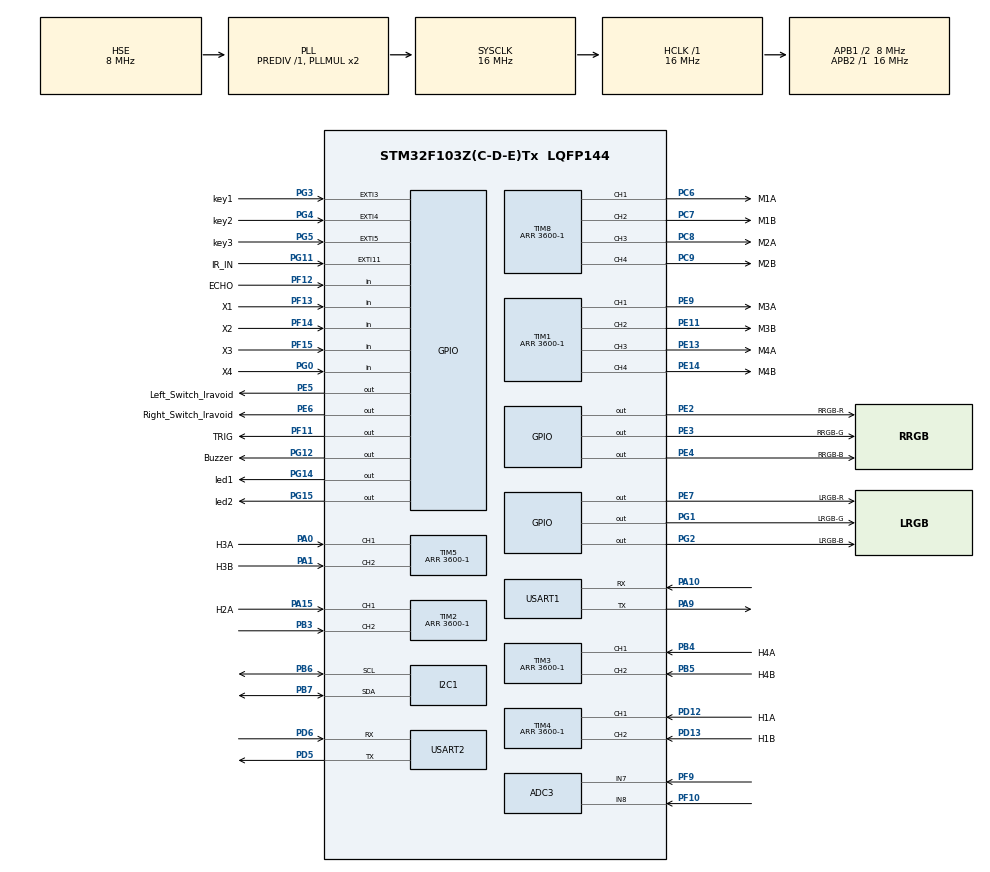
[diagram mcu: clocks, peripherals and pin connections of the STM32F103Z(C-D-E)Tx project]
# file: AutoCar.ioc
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ADC3.Channel-0\#ChannelRegularConversion=ADC_CHANNEL_7
ADC3.NbrOfConversionFlag=1
ADC3.Rank-0\#ChannelRegularConversion=1
ADC3.SamplingTime-0\#ChannelRegularConversion=ADC_SAMPLETIME_1CYCLE_5
Mcu.Family=STM32F1
Mcu.Name=STM32F103Z(C-D-E)Tx
Mcu.Package=LQFP144
NVIC.EXTI15_10_IRQn=true\:0\:0\:false\:false\:true\:true\:true\:true
NVIC.EXTI3_IRQn=true\:0\:0\:false\:false\:true\:true\:true\:true
NVIC.EXTI4_IRQn=true\:0\:0\:false\:false\:true\:true\:true\:true
NVIC.EXTI9_5_IRQn=true\:0\:0\:false\:false\:true\:true\:true\:true
NVIC.PriorityGroup=NVIC_PRIORITYGROUP_4
NVIC.USART2_IRQn=true\:0\:0\:false\:false\:true\:true\:true\:true
OSC_IN.Mode=HSE-External-Oscillator
OSC_IN.Signal=RCC_OSC_IN
OSC_OUT.Mode=HSE-External-Oscillator
OSC_OUT.Signal=RCC_OSC_OUT
PA0-WKUP.GPIO_Label=H3A
PA0-WKUP.Signal=S_TIM5_CH1
PA1.GPIO_Label=H3B
PA1.Signal=S_TIM5_CH2
PA10.Mode=Asynchronous
PA10.Signal=USART1_RX
PA13.Mode=Serial_Wire
PA13.Signal=SYS_JTMS-SWDIO
PA14.Mode=Serial_Wire
PA14.Signal=SYS_JTCK-SWCLK
PA15.GPIO_Label=H2A
PA15.Signal=S_TIM2_CH1_ETR
PA9.Mode=Asynchronous
PA9.Signal=USART1_TX
PB3.Signal=S_TIM2_CH2
PB4.GPIO_Label=H4A
PB4.Signal=S_TIM3_CH1
PB5.GPIO_Label=H4B
PB5.Signal=S_TIM3_CH2
PB6.Mode=I2C
PB6.Signal=I2C1_SCL
PB7.Mode=I2C
PB7.Signal=I2C1_SDA
PC6.GPIO_Label=M1A
PC6.Signal=S_TIM8_CH1
PC7.GPIO_Label=M1B
PC7.Signal=S_TIM8_CH2
PC8.GPIO_Label=M2A
PC8.Signal=S_TIM8_CH3
PC9.GPIO_Label=M2B
PC9.Signal=S_TIM8_CH4
PD12.GPIO_Label=H1A
PD12.Signal=S_TIM4_CH1
PD13.GPIO_Label=H1B
PD13.Signal=S_TIM4_CH2
PD5.Mode=Asynchronous
PD5.Signal=USART2_TX
PD6.Mode=Asynchronous
PD6.Signal=USART2_RX
PE11.GPIO_Label=M3B
PE11.Signal=S_TIM1_CH2
PE13.GPIO_Label=M4A
PE13.Signal=S_TIM1_CH3
PE14.GPIO_Label=M4B
PE14.Signal=S_TIM1_CH4
PE2.GPIO_Label=RRGB-R
PE2.Signal=GPIO_Output
PE3.GPIO_Label=RRGB-G
PE3.Signal=GPIO_Output
PE4.GPIO_Label=RRGB-B
PE4.Signal=GPIO_Output
PE5.GPIO_Label=Left_Switch_Iravoid
PE5.GPIO_Speed=GPIO_SPEED_FREQ_MEDIUM
PE5.Signal=GPIO_Output
PE6.GPIO_Label=Right_Switch_Iravoid
PE6.GPIO_Speed=GPIO_SPEED_FREQ_MEDIUM
PE6.Signal=GPIO_Output
PE7.GPIO_Label=LRGB-R
PE7.Signal=GPIO_Output
PE9.GPIO_Label=M3A
PE9.Signal=S_TIM1_CH1
PF10.Mode=IN8
PF10.Signal=ADC3_IN8
PF11.GPIO_Label=TRIG
PF11.Signal=GPIO_Output
PF12.GPIO_Label=ECHO
PF12.Signal=GPIO_Input
PF13.GPIO_Label=X1
PF13.Signal=GPIO_Input
PF14.GPIO_Label=X2
PF14.Signal=GPIO_Input
PF15.GPIO_Label=X3
PF15.Signal=GPIO_Input
PF9.Mode=IN7
PF9.Signal=ADC3_IN7
PG0.GPIO_Label=X4
PG0.Signal=GPIO_Input
PG1.GPIO_Label=LRGB-G
PG1.Signal=GPIO_Output
PG11.GPIO_Label=IR_IN
PG11.GPIO_ModeDefaultEXTI=GPIO_MODE_IT_FALLING
PG11.GPIO_PuPd=GPIO_PULLUP
PG11.Signal=GPXTI11
PG12.GPIO_Label=Buzzer
PG12.Signal=GPIO_Output
PG14.GPIO_Label=led1
PG14.Signal=GPIO_Output
PG15.GPIO_Label=led2
PG15.Signal=GPIO_Output
PG2.GPIO_Label=LRGB-B
PG2.Signal=GPIO_Output
PG3.GPIO_Label=key1
PG3.Signal=GPXTI3
PG4.GPIO_Label=key2
PG4.Signal=GPXTI4
PG5.GPIO_Label=key3
PG5.Signal=GPXTI5
ProjectManager.HeapSize=0x200
ProjectManager.StackSize=0x400
ProjectManager.TargetToolchain=CMake
RCC.AHBFreq_Value=16000000
RCC.APB1CLKDivider=RCC_HCLK_DIV2
RCC.APB1Freq_Value=8000000
RCC.APB1TimFreq_Value=16000000
RCC.APB2Freq_Value=16000000
RCC.APB2TimFreq_Value=16000000
RCC.HCLKFreq_Value=16000000
RCC.PLLSourceVirtual=RCC_PLLSOURCE_HSE
RCC.SYSCLKFreq_VALUE=16000000
RCC.SYSCLKSource=RCC_SYSCLKSOURCE_PLLCLK
RCC.USBFreq_Value=16000000
SH.S_TIM1_CH1.0=TIM1_CH1,PWM Generation1 CH1
SH.S_TIM1_CH2.0=TIM1_CH2,PWM Generation2 CH2
SH.S_TIM1_CH3.0=TIM1_CH3,PWM Generation3 CH3
SH.S_TIM1_CH4.0=TIM1_CH4,PWM Generation4 CH4
SH.S_TIM2_CH1_ETR.0=TIM2_CH1,Encoder_Interface
SH.S_TIM2_CH2.0=TIM2_CH2,Encoder_Interface
SH.S_TIM3_CH1.0=TIM3_CH1,Encoder_Interface
SH.S_TIM3_CH2.0=TIM3_CH2,Encoder_Interface
SH.S_TIM4_CH1.0=TIM4_CH1,Encoder_Interface
SH.S_TIM4_CH2.0=TIM4_CH2,Encoder_Interface
SH.S_TIM5_CH1.0=TIM5_CH1,Encoder_Interface
SH.S_TIM5_CH2.0=TIM5_CH2,Encoder_Interface
SH.S_TIM8_CH1.0=TIM8_CH1,PWM Generation1 CH1
SH.S_TIM8_CH2.0=TIM8_CH2,PWM Generation2 CH2
SH.S_TIM8_CH3.0=TIM8_CH3,PWM Generation3 CH3
SH.S_TIM8_CH4.0=TIM8_CH4,PWM Generation4 CH4
TIM1.AutoReloadPreload=TIM_AUTORELOAD_PRELOAD_ENABLE
TIM1.Channel-PWM\ Generation1\ CH1=TIM_CHANNEL_1
TIM1.Channel-PWM\ Generation2\ CH2=TIM_CHANNEL_2
TIM1.Channel-PWM\ Generation3\ CH3=TIM_CHANNEL_3
TIM1.Channel-PWM\ Generation4\ CH4=TIM_CHANNEL_4
TIM1.Period=3600-1
TIM2.AutoReloadPreload=TIM_AUTORELOAD_PRELOAD_ENABLE
TIM2.Period=3600-1
TIM3.AutoReloadPreload=TIM_AUTORELOAD_PRELOAD_ENABLE
TIM3.Period=3600-1
TIM4.AutoReloadPreload=TIM_AUTORELOAD_PRELOAD_ENABLE
TIM4.Period=3600-1
TIM5.AutoReloadPreload=TIM_AUTORELOAD_PRELOAD_ENABLE
TIM5.Period=3600-1
TIM8.AutoReloadPreload=TIM_AUTORELOAD_PRELOAD_ENABLE
TIM8.Channel-PWM\ Generation1\ CH1=TIM_CHANNEL_1
TIM8.Channel-PWM\ Generation2\ CH2=TIM_CHANNEL_2
TIM8.Channel-PWM\ Generation3\ CH3=TIM_CHANNEL_3
TIM8.Channel-PWM\ Generation4\ CH4=TIM_CHANNEL_4
TIM8.Period=3600-1
USART1.VirtualMode=VM_ASYNC
USART2.VirtualMode=VM_ASYNC
VP_TIM1_VS_ClockSourceINT.Mode=Internal
VP_TIM8_VS_ClockSourceINT.Mode=Internal
board=custom

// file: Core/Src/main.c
/* USER CODE BEGIN Header */
/**
  ******************************************************************************
  * @file           : main.c
  * @brief          : Main program body
  ******************************************************************************
  * @attention
  *
  * Copyright (c) 2026 STMicroelectronics.
  * All rights reserved.
  *
  * This software is licensed under terms that can be found in the LICENSE file
  * in the root directory of this software component.
  * If no LICENSE file comes with this software, it is provided AS-IS.
  *
  ******************************************************************************
  */
/* USER CODE END Header */
#include "main.h"
#include "adc.h"
#include "i2c.h"
#include "tim.h"
#include "usart.h"
#include "gpio.h"

/* USER CODE BEGIN Includes */
#include "car.h"
#include "encoder.h"
#include "ir_avoid.h"
#include "line_tracker.h"
#include "retarget.h"
#include "oled.h"
#include "ir_remote.h"
#include "ultrasonic.h"
#include "ir_remote_debug.h"
#include "ultrasonic_avoid.h"
#include "vision_uart.h"
#include "vision_task.h"
#include "event.h"
#include "scheduler.h"
#include "manual_task.h"
#include "avoid_task.h"
#include "indicator.h"
#include "ultrasonic_sense.h"
#include "vision_nav.h"

#include <stdio.h>

/* USER CODE END Includes */

/* USER CODE BEGIN PD */

/* RGB LED timing: 0.2s on, 0.2s off */
#define RGB_PERIOD_MS  200U

/* 轨迹间的停顿时间 */
#define TRAJ_GAP_MS    2000U

/* USER CODE END PD */

/* USER CODE BEGIN PV */
/* Buzzer control flag */
volatile uint8_t buzzer_on = 0;

/* USER CODE END PV */

void SystemClock_Config(void);

/* USER CODE BEGIN 0 */

/**
  * @brief  Set RGB LED color
  * @param  r: Red state (1 = on, 0 = off)
  * @param  g: Green state (1 = on, 0 = off)
  * @param  b: Blue state (1 = on, 0 = off)
  * @retval None
  */
void RGB_SetColor(uint8_t r, uint8_t g, uint8_t b)
{
  HAL_GPIO_WritePin(RRGB_R_GPIO_Port, RRGB_R_Pin, r ? GPIO_PIN_SET : GPIO_PIN_RESET);
  HAL_GPIO_WritePin(RRGB_G_GPIO_Port, RRGB_G_Pin, g ? GPIO_PIN_SET : GPIO_PIN_RESET);
  HAL_GPIO_WritePin(RRGB_B_GPIO_Port, RRGB_B_Pin, b ? GPIO_PIN_SET : GPIO_PIN_RESET);

  HAL_GPIO_WritePin(LRGB_R_GPIO_Port, LRGB_R_Pin, g ? GPIO_PIN_SET : GPIO_PIN_RESET);
  HAL_GPIO_WritePin(LRGB_G_GPIO_Port, LRGB_G_Pin, r ? GPIO_PIN_SET : GPIO_PIN_RESET);
  HAL_GPIO_WritePin(LRGB_B_GPIO_Port, LRGB_B_Pin, b ? GPIO_PIN_SET : GPIO_PIN_RESET);
}

/**
  * @brief  EXTI line detection callback
  * @param  GPIO_Pin: Specifies the pins connected EXTI line
  * @retval None
  */
void HAL_GPIO_EXTI_Callback(uint16_t GPIO_Pin)
{
  IrRemote_EXTI_Callback(GPIO_Pin);
  /* 超声波 ECHO 双边沿：中断里只打 DWT 时间戳，换算留给 Ultrasonic_Step()。 */
  Ultrasonic_EXTI_Callback(GPIO_Pin);

  if (GPIO_Pin == key1_Pin || GPIO_Pin == key3_Pin)
  {
    /* Key1 or Key3 pressed: turn on buzzer */
    buzzer_on = 1;
    HAL_GPIO_WritePin(Buzzer_GPIO_Port, Buzzer_Pin, GPIO_PIN_SET);
    HAL_GPIO_WritePin(led1_GPIO_Port, led1_Pin, GPIO_PIN_SET);
    HAL_GPIO_WritePin(led2_GPIO_Port, led2_Pin, GPIO_PIN_RESET);

    /* Key3 兼作急停。中断里只投事件，不做动作。 */
    if (GPIO_Pin == key3_Pin)
    {
      (void)Event_Post(EVENT_KEY_STOP, 0U);
    }
  }
  else if (GPIO_Pin == key2_Pin)
  {
    /* Key2 pressed: turn off buzzer */
    buzzer_on = 0;
    HAL_GPIO_WritePin(Buzzer_GPIO_Port, Buzzer_Pin, GPIO_PIN_RESET);
    HAL_GPIO_WritePin(led1_GPIO_Port, led1_Pin, GPIO_PIN_RESET);
    HAL_GPIO_WritePin(led2_GPIO_Port, led2_Pin, GPIO_PIN_SET);

    /* Key2 兼作启动。 */
    (void)Event_Post(EVENT_KEY_START, 0U);
  }
}

/* 电机与小车运动函数分别位于 tim.c 和 car.c */

/**
  * @brief  周期输出四个轮子的编码器诊断数据
  * @note   放在主循环中调用，不能放到 SysTick 中断里，否则阻塞式串口发送
  *         会影响系统时基和编码器采样。
  */
static void Encoder_PrintStatus(void)
{
  static uint32_t last_report_tick = 0U;
  uint32_t now = HAL_GetTick();

  if ((uint32_t)(now - last_report_tick) < 500U)
  {
    return;
  }
  last_report_tick = now;

  printf("[ENC %lums] M1: count=%ld distance=%ldmm rpm=%d\r\n",
         (unsigned long)now,
         (long)Encoder_GetCount(MOTOR_1),
         (long)Encoder_GetDistance(MOTOR_1),
         (int)Encoder_GetSpeedRpm(MOTOR_1));
  printf("             M2: count=%ld distance=%ldmm rpm=%d\r\n",
         (long)Encoder_GetCount(MOTOR_2),
         (long)Encoder_GetDistance(MOTOR_2),
         (int)Encoder_GetSpeedRpm(MOTOR_2));
  printf("             M3: count=%ld distance=%ldmm rpm=%d\r\n",
         (long)Encoder_GetCount(MOTOR_3),
         (long)Encoder_GetDistance(MOTOR_3),
         (int)Encoder_GetSpeedRpm(MOTOR_3));
  printf("             M4: count=%ld distance=%ldmm rpm=%d\r\n",
         (long)Encoder_GetCount(MOTOR_4),
         (long)Encoder_GetDistance(MOTOR_4),
         (int)Encoder_GetSpeedRpm(MOTOR_4));
  printf("             avg=%ldmm left=%ldmm right=%ldmm\r\n",
         (long)Encoder_GetDistanceAvg(),
         (long)Encoder_GetDistanceLeft(),
         (long)Encoder_GetDistanceRight());
}

/* USER CODE END 0 */

int main(void)
{

  /* MCU Configuration--------------------------------------------------------*/

  /* Reset of all peripherals, Initializes the Flash interface and the Systick. */
  HAL_Init();

  /* Configure the system clock */
  SystemClock_Config();

  /* Initialize all configured peripherals */
  MX_GPIO_Init();
  MX_TIM1_Init();
  MX_TIM8_Init();
  MX_TIM2_Init();
  MX_TIM3_Init();
  MX_TIM4_Init();
  MX_TIM5_Init();
  MX_USART1_UART_Init();
  MX_I2C1_Init();
  MX_ADC3_Init();
  MX_USART2_UART_Init();
  /* USER CODE BEGIN 2 */

  /* Initialize LED2 as on (buzzer is off by default) */
  HAL_GPIO_WritePin(led2_GPIO_Port, led2_Pin, GPIO_PIN_SET);

  /* printf → USART1(PA9)。必须在 MX_USART1_UART_Init() 之后 */
  Retarget_Init();
  printf("\r\n=== AutoCar boot ===\r\n");
  printf("encoder: %u counts/rev (PPR %u x%u, gear %u), wheel %umm\r\n",
         (unsigned)ENC_COUNTS_PER_REV, (unsigned)ENC_PPR,
         (unsigned)ENC_QUAD_FACTOR, (unsigned)ENC_GEAR_RATIO,
         (unsigned)ENC_WHEEL_DIA_MM);

  /* 启动 8 路电机 PWM，初始为静止 */
  Car_Init();

  /* 启动四路编码器。之后由 SysTick 每 1ms 自动采样，无需在主循环里调用。
     标定用的观察量（调试器里加 Watch）：
       Encoder_GetCount(MOTOR_1)   四路计数，前进时应全为正
       Encoder_GetDistanceAvg()    车体里程 mm
       Encoder_GetSpeedRpm(...)    轮子转速 rpm */
    Encoder_Init();
  IrAvoid_Init();
    Oled_Init();
  IrRemote_Init();
  IrRemoteDebug_Init();
  Ultrasonic_Init();
  UltrasonicAvoid_Init();
  /* 事件队列必须在任何可能投递事件的模块之前初始化。 */
  Event_Init();
  Indicator_Init();
  VisionUart_Init();
  VisionTask_Init();
  ManualTask_Init();
  UltrasonicSense_Init();
  AvoidTask_Init();
  VisionNav_Init();
  LineTracker_Init();
  Scheduler_Init();

  /* USER CODE END 2 */

  /* Infinite loop */
  while (1)
  {

    /* USER CODE BEGIN 3 */

    /* ==== 正式主循环：采样 → 调度 → 分派 → 诊断 ====================
       循环里没有 HAL_Delay，每轮都能重新仲裁优先级。同一周期只有
       Scheduler_Dispatch() 选中的那一个模块会写电机。 */

    /* 1. 采样层：识别模块只产生事件，不驱动底盘。
          遥控必须每轮采样——RED 双击是进入手动模式的唯一入口。
          视觉帧由 UART2 中断直接投递事件，这里无需轮询。 */
    ManualTask_Sense();
    // IrAvoid_Sense();
    // UltrasonicSense_Sense();

    /* 2. 调度层：消费事件，决定控制模式。 */
    Scheduler_DrainEvents();

    /* 3. 分派：本轮只有一个模块获得底盘控制权。 */
    Scheduler_Dispatch();

    /* 3.5 鸣笛：不占底盘，所以不能挂在 Scheduler_Dispatch() 里（那里每轮只有
           一个模块拿到控制权）。放在这里让它与循迹/避障并行推进，车不停。 */
    VisionTask_StepHorn();

    /* 4. 指示层：按优先级裁决蜂鸣与 RGB，各模块只申请不直写。 */
    Indicator_Step();

    /* 5. 诊断：按 tick 判周期，绝不每轮都 printf。 */
    {
      static uint32_t last_vision_debug_tick;
      uint32_t now = HAL_GetTick();
      if ((uint32_t)(now - last_vision_debug_tick) >= 1000U)
      {
        last_vision_debug_tick = now;
        printf("[DIAG] mode=%s speed=%u ir=%s front=%umm | RX count=%lu "
               "last=0x%02X errors=%lu resync=%lu code=0x%08lX | "
               "REMOTE dropped=%lu | EVT posted=%lu dropped=%lu | "
               "AVOID %s step=%u | VNAV %s open=%u rej=%lu base=%u\r\n",
               Scheduler_ModeName(Scheduler_GetMode()),
               (unsigned)VisionTask_GetSpeed(),
               IrAvoid_StateName(IrAvoid_GetState()),
               (unsigned)UltrasonicSense_GetLastMm(),
               (unsigned long)VisionUart_GetRxCount(),
               (unsigned)VisionUart_GetLastByte(),
               (unsigned long)VisionUart_GetErrorCount(),
               (unsigned long)VisionUart_GetResyncCount(),
               (unsigned long)VisionUart_GetLastError(),
               (unsigned long)IrRemote_GetDroppedCount(),
               (unsigned long)Event_GetPostedCount(),
               (unsigned long)Event_GetDroppedCount(),
               AvoidTask_StateName(AvoidTask_GetState()),
               (unsigned)AvoidTask_GetStep(),
               VisionNav_StateName(VisionNav_GetState()),
               (unsigned)VisionNav_IsVisionOpen(),
               (unsigned long)VisionNav_GetRejectedCount(),
               (unsigned)LineTracker_GetBaseSpeed());
      }
    }

    /* 按编码器距离运动示例（需要测试时取消对应注释） */
    // Car_ForwardDistance(70U, 1000U);    /* 前进 200mm 后制动 */
    // HAL_Delay(10000U);
    // Car_BackwardDistance(70U, 1000U);   /* 后退 200mm 后制动 */
    // HAL_Delay(10000U);
    // HAL_Delay(3000U);
    // Car_RotateLeftAngle(100U, 1800U);       /* 原地左转 90.0° */
    // HAL_Delay(2000U);
    // Car_RotateRightAngle(100U, 1800U);      /* 原地右转 90.0° */
    // HAL_Delay(2000U);
    // Car_TurnLeftAngle(100U, 150U, 3600U);  /* 半径 150mm 左转 90.0° */
    // HAL_Delay(2000U);
    // Car_TurnRightAngle(100U, 150U, 3600U); /* 半径 150mm 右转 90.0° */

    /* 超声波避障已并入 avoid_task（阶段 4），正式路径由调度器驱动。
       旧的 UltrasonicAvoid_Handle() 保留为独立调试入口，但它直写 RGB 和
       蜂鸣器、绕过指示层，启用时会和正式告警互相覆盖。 */
    // if (UltrasonicAvoid_Handle() == 0U)
    // {
    //   Car_ForwardRun(70U);
    // }
    // HAL_Delay(1U);

    /* 红外遥控与 OLED 调试，需要时单独启用。 */
    // IrRemoteDebug_Update();

    /* 红外避障诊断：正式路径已由上面的 IrAvoid_Sense() 非阻塞采样，
       状态变化时自动投事件。需要阻塞式单次采样标定阈值时用：
       IrAvoid_UpdateBlocking(); */
    // IrAvoid_UpdateBlocking();

    /* 四路红外黑线循迹（集成避障时使用 LineTracker_Step()，不要使用
       内部无限循环的 LineTracker_Run()）。独立循迹调试时可单独启用： */
    // LineTracker_Run();

    /* 变速直线：先加速再减速，走一个梭形速度曲线 */
    // RGB_SetColor(0, 0, 1);                      /* 蓝色 - 正在变速直线 */
    // Car_ForwardVary(RAMP_SPEED_LO, RAMP_SPEED_HI, RAMP_MS);   /* 加速 */
    // Car_ForwardVary(RAMP_SPEED_HI, RAMP_SPEED_LO, RAMP_MS);   /* 减速 */
    // Car_Brake(TRAJ_GAP_MS);

  }
  /* USER CODE END 3 */
}

void SystemClock_Config(void)
{
  RCC_OscInitTypeDef RCC_OscInitStruct = {0};
  RCC_ClkInitTypeDef RCC_ClkInitStruct = {0};
  RCC_PeriphCLKInitTypeDef PeriphClkInit = {0};

  /** Initializes the RCC Oscillators according to the specified parameters
  * in the RCC_OscInitTypeDef structure.
  */
  RCC_OscInitStruct.OscillatorType = RCC_OSCILLATORTYPE_HSE;
  RCC_OscInitStruct.HSEState = RCC_HSE_ON;
  RCC_OscInitStruct.HSEPredivValue = RCC_HSE_PREDIV_DIV1;
  RCC_OscInitStruct.HSIState = RCC_HSI_ON;
  RCC_OscInitStruct.PLL.PLLState = RCC_PLL_ON;
  RCC_OscInitStruct.PLL.PLLSource = RCC_PLLSOURCE_HSE;
  RCC_OscInitStruct.PLL.PLLMUL = RCC_PLL_MUL2;
  if (HAL_RCC_OscConfig(&RCC_OscInitStruct) != HAL_OK)
  {
    Error_Handler();
  }

  /** Initializes the CPU, AHB and APB buses clocks
  */
  RCC_ClkInitStruct.ClockType = RCC_CLOCKTYPE_HCLK|RCC_CLOCKTYPE_SYSCLK
                              |RCC_CLOCKTYPE_PCLK1|RCC_CLOCKTYPE_PCLK2;
  RCC_ClkInitStruct.SYSCLKSource = RCC_SYSCLKSOURCE_PLLCLK;
  RCC_ClkInitStruct.AHBCLKDivider = RCC_SYSCLK_DIV1;
  RCC_ClkInitStruct.APB1CLKDivider = RCC_HCLK_DIV2;
  RCC_ClkInitStruct.APB2CLKDivider = RCC_HCLK_DIV1;

  if (HAL_RCC_ClockConfig(&RCC_ClkInitStruct, FLASH_LATENCY_0) != HAL_OK)
  {
    Error_Handler();
  }
  PeriphClkInit.PeriphClockSelection = RCC_PERIPHCLK_ADC;
  PeriphClkInit.AdcClockSelection = RCC_ADCPCLK2_DIV2;
  if (HAL_RCCEx_PeriphCLKConfig(&PeriphClkInit) != HAL_OK)
  {
    Error_Handler();
  }
}

void Error_Handler(void)
{
  __disable_irq();
  while (1)
  {
  }
}
